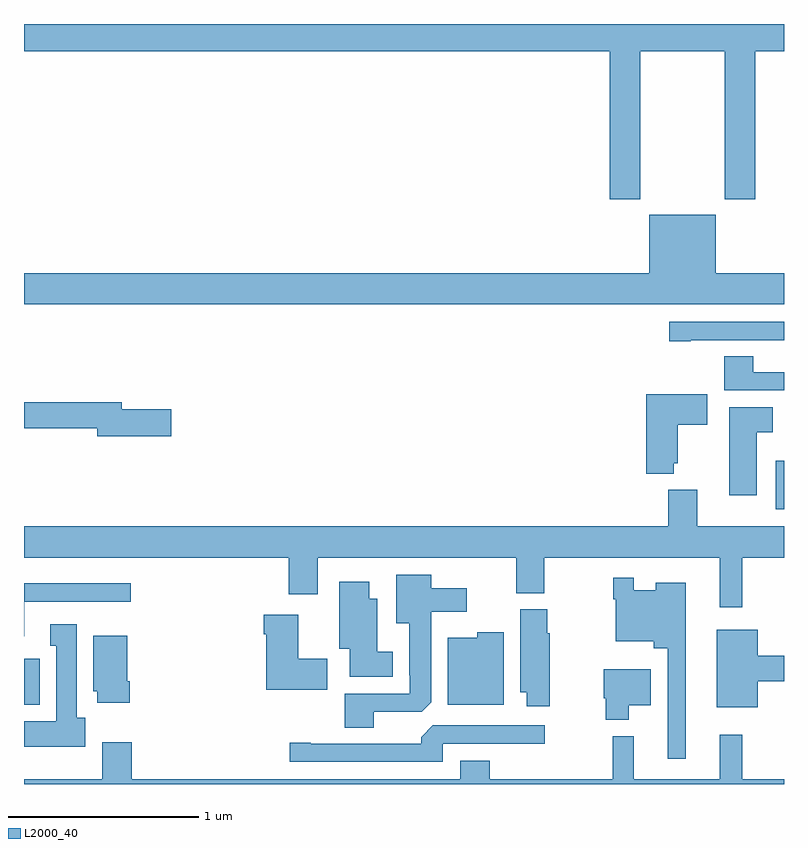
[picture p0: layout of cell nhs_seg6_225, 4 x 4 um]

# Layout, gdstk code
import gdstk
lib = gdstk.Library(unit=1e-6, precision=1e-09)
def R(c, l, rs):  # rectangles x0, y0, x1, y1
    for r in rs: c.add(gdstk.rectangle(r[:2], r[2:], *l))
def P(c, l, *ps):  # polygons
    for p in ps: c.add(gdstk.Polygon(p, *l))
L2000_40 = (2000, 40)

nhs_seg6_225 = lib.new_cell('nhs_seg6_225')
R(nhs_seg6_225, L2000_40, [(123,923.918,123.082,924.16), (126.956,924.947,127,925.201)])
P(nhs_seg6_225, L2000_40, [(126.243,927.356),(126.688,927.356),(126.688,926.577),(126.848,926.577),(126.848,927.356),(127,927.356),(127,927.5),(123,927.5),(123,927.356),(126.083,927.356),(126.083,926.577),(126.243,926.577)],
  [(127,926.188),(126.64,926.188),(126.64,926.497),(126.29,926.497),(126.29,926.188),(123,926.188),(123,926.024),(127,926.024)],
  [(126.508,925.836),(127,925.836),(127,925.932),(126.396,925.932),(126.396,925.831),(126.508,925.831)],
  [(127,925.668),(126.838,925.668),(126.838,925.751),(126.686,925.751),(126.686,925.572),(127,925.572)],
  [(126.42,925.187),(126.442,925.187),(126.442,925.39),(126.595,925.39),(126.595,925.552),(126.275,925.552),(126.275,925.133),(126.42,925.133)],
  [(123.775,925.472),(123.514,925.472),(123.514,925.508),(123,925.508),(123,925.372),(123.386,925.372),(123.386,925.33),(123.775,925.33)],
  [(126.856,925.352),(126.94,925.352),(126.94,925.483),(126.713,925.483),(126.713,925.02),(126.856,925.02)],
  [(126.779,924.692),(127,924.692),(127,924.856),(126.544,924.856),(126.544,925.048),(126.392,925.048),(126.392,924.856),(123,924.856),(123,924.692),(124.394,924.692),(124.394,924.498),(124.546,924.498),(124.546,924.692),(125.591,924.692),(125.591,924.505),(125.739,924.505),(125.739,924.692),(126.662,924.692),(126.662,924.429),(126.779,924.429)],
  [(124.84,923.88),(125.094,923.88),(125.143,923.929),(125.143,924.407),(125.329,924.407),(125.329,924.529),(125.143,924.529),(125.143,924.601),(124.958,924.601),(124.958,924.347),(125.027,924.347),(125.027,924.073),(125.031,924.073),(125.031,923.976),(124.688,923.976),(124.688,923.797),(124.84,923.797)],
  [(126.484,924.559),(126.326,924.559),(126.326,924.52),(126.21,924.52),(126.21,924.586),(126.102,924.586),(126.102,924.473),(126.114,924.473),(126.114,924.251),(126.314,924.251),(126.314,924.215),(126.387,924.215),(126.387,923.634),(126.484,923.634)],
  [(124.942,924.196),(124.858,924.196),(124.858,924.475),(124.816,924.475),(124.816,924.565),(124.658,924.565),(124.658,924.212),(124.715,924.212),(124.715,924.065),(124.942,924.065)],
  [(123.001,924.459),(123.562,924.459),(123.562,924.556),(123,924.556),(123,924.278),(123.001,924.278)],
  [(125.767,924.294),(125.754,924.294),(125.754,924.42),(125.612,924.42),(125.612,923.984),(125.645,923.984),(125.645,923.91),(125.767,923.91)],
  [(124.597,924.159),(124.444,924.159),(124.444,924.391),(124.262,924.391),(124.262,924.287),(124.274,924.287),(124.274,923.996),(124.597,923.996)],
  [(123.322,923.85),(123.277,923.85),(123.277,924.34),(123.137,924.34),(123.137,924.227),(123.17,924.227),(123.17,923.83),(123,923.83),(123,923.696),(123.322,923.696)],
  [(126.862,924.04),(127,924.04),(127,924.176),(126.862,924.176),(126.862,924.313),(126.647,924.313),(126.647,923.903),(126.862,923.903)],
  [(125.524,924.298),(125.385,924.298),(125.385,924.271),(125.231,924.271),(125.231,923.918),(125.524,923.918)],
  [(123.557,924.04),(123.544,924.04),(123.544,924.28),(123.365,924.28),(123.365,923.988),(123.386,923.988),(123.386,923.928),(123.557,923.928)],
  [(126.184,923.915),(126.298,923.915),(126.298,924.103),(126.05,924.103),(126.05,923.952),(126.062,923.952),(126.062,923.837),(126.184,923.837)],
  [(125.205,923.712),(125.74,923.712),(125.74,923.808),(125.151,923.808),(125.09,923.746),(125.09,923.712),(124.51,923.712),(124.51,923.717),(124.398,923.717),(124.398,923.616),(125.205,923.616)],
  [(127,923.524),(126.779,923.524),(126.779,923.758),(126.662,923.758),(126.662,923.524),(126.209,923.524),(126.209,923.752),(126.099,923.752),(126.099,923.524),(125.45,923.524),(125.45,923.623),(125.297,923.623),(125.297,923.524),(123.566,923.524),(123.566,923.719),(123.413,923.719),(123.413,923.524),(123,923.524),(123,923.5),(127,923.5)])

lib.write_gds('nhs_seg6_225.gds')
